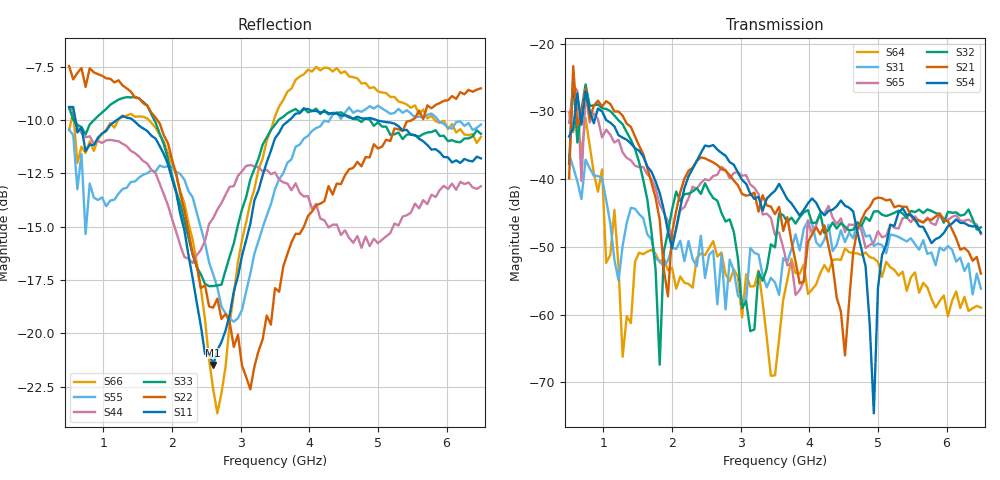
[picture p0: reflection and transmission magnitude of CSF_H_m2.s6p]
!Keysight Technologies,M9804A,MY58100912,A.14.10.03
!Date: Thursday, April 27, 2023 10:28:33
!Correction: S11(C  6-Port  )
!S12(C  6-Port  )
!S13(C  6-Port  )
!S14(C  6-Port  )
!S15(C  6-Port  )
!S16(C  6-Port  )
!S21(C  6-Port  )
!S22(C  6-Port  )
!S23(C  6-Port  )
!S24(C  6-Port  )
!S25(C  6-Port  )
!S26(C  6-Port  )
!S31(C  6-Port  )
!S32(C  6-Port  )
!S33(C  6-Port  )
!S34(C  6-Port  )
!S35(C  6-Port  )
!S36(C  6-Port  )
!S41(C  6-Port  )
!S42(C  6-Port  )
!S43(C  6-Port  )
!S44(C  6-Port  )
!S45(C  6-Port  )
!S46(C  6-Port  )
!S51(C  6-Port  )
!S52(C  6-Port  )
!S53(C  6-Port  )
!S54(C  6-Port  )
!S55(C  6-Port  )
!S56(C  6-Port  )
!S61(C  6-Port  )
!S62(C  6-Port  )
!S63(C  6-Port  )
!S64(C  6-Port  )
!S65(C  6-Port  )
!S66(C  6-Port  )
!S6P File: Measurement: :
# Hz S  RI  R 50
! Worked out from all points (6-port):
!   101 points, 500 MHz to 6.5 GHz, reference 50 ohm
!   strongest paths, dB at 500 MHz, 2 GHz, 3.5 GHz, 5 GHz, 6.5 GHz:
!     S54: -33.7, -50.2, -41.7, -56.1, -47.9
!     S21: -39.9, -47.9, -45.2, -42.7, -53.9
!     S32: -37.7, -44.5, -50.1, -44.7, -47.1
!     S65: -31.7, -49.3, -48.3, -47.7, -48.1
!     S31: -36.3, -50.1, -55.2, -49.5, -56.2
!     S64: -30.2, -53.1, -69.0, -52.2, -59.0
!   lowest |S11| = -21.5 dB at 2.6 GHz (marker M1), VSWR 1.18, Z = 42.5 + j2.14 ohm
!   |S11| at or under -10 dB: 590.6 MHz to 1.196 GHz (605.4 MHz wide, 67.8 % of centre); 1.428 GHz to 3.711 GHz (2.282 GHz wide, 88.8 % of centre); 4.975 GHz to end of sweep
